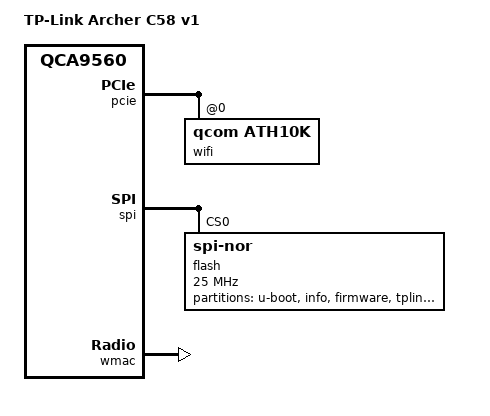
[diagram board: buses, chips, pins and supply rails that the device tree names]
// SPDX-License-Identifier: GPL-2.0-or-later OR MIT

#include "qca9561_tplink_archer-c5x.dtsi"

/ {
	compatible = "tplink,archer-c58-v1", "qca,qca9560";
	model = "TP-Link Archer C58 v1";

	aliases {
		label-mac-device = &eth1;
	};
};

&pcie {
	wifi@0,0 {
		compatible = "qcom,ath10k";
		reg = <0x0000 0 0 0 0>;
		nvmem-cells = <&precal_art_5000>, <&macaddr_info_8 (-1)>;
		nvmem-cell-names = "pre-calibration", "mac-address";
	};
};

&spi {
	status = "okay";

	flash@0 {
		compatible = "jedec,spi-nor";
		reg = <0>;
		spi-max-frequency = <25000000>;

		partitions {
			compatible = "fixed-partitions";
			#address-cells = <1>;
			#size-cells = <1>;

			partition@0 {
				label = "u-boot";
				reg = <0x000000 0x010000>;
				read-only;
			};

			partition@10000 {
				label = "info";
				reg = <0x010000 0x010000>;
				read-only;

				nvmem-layout {
					compatible = "fixed-layout";
					#address-cells = <1>;
					#size-cells = <1>;

					macaddr_info_8: macaddr@8 {
						compatible = "mac-base";
						reg = <0x8 0x6>;
						#nvmem-cell-cells = <1>;
					};
				};
			};

			partition@20000 {
				compatible = "denx,uimage";
				label = "firmware";
				reg = <0x020000 0x7c0000>;
			};

			partition@7e0000 {
				label = "tplink";
				reg = <0x7e0000 0x010000>;
				read-only;
			};

			partition@7f0000 {
				label = "art";
				reg = <0x7f0000 0x010000>;
				read-only;

				nvmem-layout {
					compatible = "fixed-layout";
					#address-cells = <1>;
					#size-cells = <1>;

					cal_art_1000: calibration@1000 {
						reg = <0x1000 0x440>;
					};

					precal_art_5000: pre-calibration@5000 {
						reg = <0x5000 0x2f20>;
					};
				};
			};
		};
	};
};

&eth0 {
	nvmem-cells = <&macaddr_info_8 1>;
	nvmem-cell-names = "mac-address";
};

&eth1 {
	nvmem-cells = <&macaddr_info_8 0>;
	nvmem-cell-names = "mac-address";
};

&wmac {
	nvmem-cells = <&macaddr_info_8 0>, <&cal_art_1000>;
	nvmem-cell-names = "mac-address", "calibration";
};
